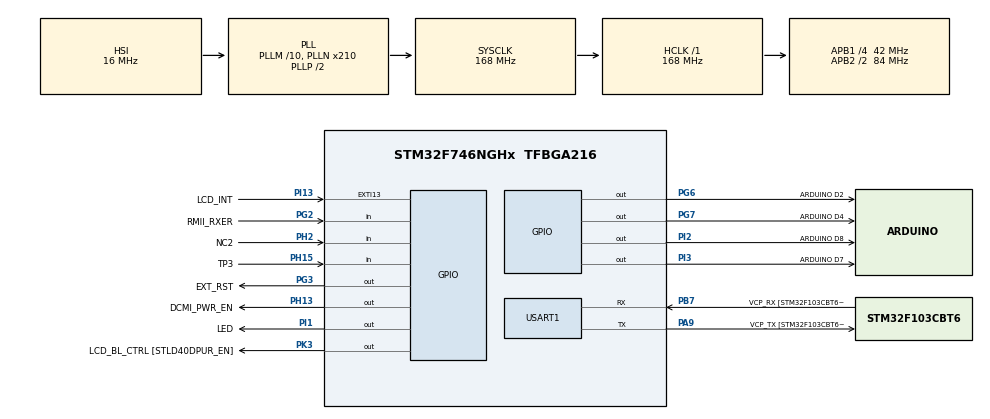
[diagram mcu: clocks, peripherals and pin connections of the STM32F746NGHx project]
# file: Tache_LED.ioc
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FREERTOS.Tasks01=defaultTask,0,128,StartDefaultTask,Default,NULL,Dynamic,NULL,NULL
Mcu.Family=STM32F7
Mcu.Name=STM32F746NGHx
Mcu.Package=TFBGA216
NVIC.PriorityGroup=NVIC_PRIORITYGROUP_4
NVIC.USART1_IRQn=true\:5\:0\:false\:false\:true\:true\:true\:true\:true
PA0/WKUP.GPIO_Label=ARDUINO A0
PA0/WKUP.GPIO_Mode=GPIO_MODE_ANALOG
PA0/WKUP.GPIO_PuPd=GPIO_NOPULL
PA0/WKUP.Signal=ADCx_IN0
PA1.GPIO_Label=RMII_REF_CLK [LAN8742A-CZ-TR_REFCLK0]
PA1.Signal=ETH_REF_CLK
PA10.GPIO_Label=OTG_FS_ID
PA10.Signal=USB_OTG_FS_ID
PA11.GPIO_Label=OTG_FS_N
PA11.Signal=USB_OTG_FS_DM
PA12.GPIO_Label=OTG_FS_P
PA12.Signal=USB_OTG_FS_DP
PA13.GPIO_Label=SWDIO
PA13.Signal=SYS_JTMS-SWDIO
PA14.GPIO_Label=SWCLK
PA14.Signal=SYS_JTCK-SWCLK
PA15.GPIO_Label=ARDUINO PWM/D9
PA15.GPIO_ModeDefaultPP=GPIO_MODE_AF_PP
PA15.GPIO_PuPd=GPIO_NOPULL
PA15.GPIO_Speed=GPIO_SPEED_FREQ_LOW
PA15.Signal=S_TIM2_CH1_ETR
PA2.GPIO_Label=RMII_MDIO [LAN8742A-CZ-TR_MDIO]
PA2.Signal=ETH_MDIO
PA3.GPIO_Label=ULPI_D0 [USB3320C-EZK_D0]
PA3.Signal=USB_OTG_HS_ULPI_D0
PA4.GPIO_Label=DCMI_HSYNC
PA4.Signal=DCMI_HSYNC
PA5.GPIO_Label=ULPI_CLK [USB3320C-EZK_CLKOUT]
PA5.Signal=USB_OTG_HS_ULPI_CK
PA6.Signal=DCMI_PIXCLK
PA7.GPIO_Label=RMII_CRS_DV [LAN8742A-CZ-TR_CRS_DV]
PA7.Signal=ETH_CRS_DV
PA8.GPIO_Label=ARDUINO PWM/D10
PA8.GPIO_ModeDefaultPP=GPIO_MODE_AF_PP
PA8.GPIO_PuPd=GPIO_NOPULL
PA8.GPIO_Speed=GPIO_SPEED_FREQ_LOW
PA8.Signal=S_TIM1_CH1
PA9.GPIO_Label=VCP_TX [STM32F103CBT6_PA3]
PA9.GPIO_Mode=GPIO_MODE_AF_PP
PA9.GPIO_PuPd=GPIO_NOPULL
PA9.GPIO_Speed=GPIO_SPEED_FREQ_LOW
PA9.Mode=Asynchronous
PA9.Signal=USART1_TX
PB0.GPIO_Label=ULPI_D1 [USB3320C-EZK_D1]
PB0.Signal=USB_OTG_HS_ULPI_D1
PB1.GPIO_Label=ULPI_D2 [USB3320C-EZK_D2]
PB1.Signal=USB_OTG_HS_ULPI_D2
PB10.GPIO_Label=ULPI_D3 [USB3320C-EZK_D3]
PB10.Signal=USB_OTG_HS_ULPI_D3
PB11.GPIO_Label=ULPI_D4 [USB3320C-EZK_D4]
PB11.Signal=USB_OTG_HS_ULPI_D4
PB12.GPIO_Label=ULPI_D5 [USB3320C-EZK_D5]
PB12.Signal=USB_OTG_HS_ULPI_D5
PB13.GPIO_Label=ULPI_D6 [USB3320C-EZK_D6]
PB13.Signal=USB_OTG_HS_ULPI_D6
PB14.GPIO_Label=ARDUINO MISO/D12
PB14.GPIO_Mode=GPIO_MODE_AF_PP
PB14.GPIO_PuPd=GPIO_NOPULL
PB14.GPIO_Speed=GPIO_SPEED_FREQ_LOW
PB14.Signal=SPI2_MISO
PB15.GPIO_Label=ARDUINO MOSI/PWM/D11
PB15.GPIO_Mode=GPIO_MODE_AF_PP
PB15.GPIO_PuPd=GPIO_NOPULL
PB15.GPIO_Speed=GPIO_SPEED_FREQ_LOW
PB15.Signal=SPI2_MOSI
PB2.Signal=QUADSPI_CLK
PB3.GPIO_Label=SWO
PB3.Signal=SYS_JTDO-SWO
PB4.GPIO_Label=ARDUINO PWM/D3
PB4.GPIO_ModeDefaultPP=GPIO_MODE_AF_PP
PB4.GPIO_PuPd=GPIO_NOPULL
PB4.GPIO_Speed=GPIO_SPEED_FREQ_LOW
PB4.Signal=S_TIM3_CH1
PB5.GPIO_Label=ULPI_D7 [USB3320C-EZK_D7]
PB5.Signal=USB_OTG_HS_ULPI_D7
PB6.GPIO_Label=QSPI_NCS [N25Q128A13EF840E_S]
PB6.Signal=QUADSPI_BK1_NCS
PB7.GPIO_Label=VCP_RX [STM32F103CBT6_PA2]
PB7.GPIO_Mode=GPIO_MODE_AF_PP
PB7.GPIO_PuPd=GPIO_NOPULL
PB7.GPIO_Speed=GPIO_SPEED_FREQ_LOW
PB7.Mode=Asynchronous
PB7.Signal=USART1_RX
PB8.GPIO_Label=ARDUINO SCL/D15
PB8.GPIO_Mode=GPIO_MODE_AF_OD
PB8.GPIO_PuPd=GPIO_NOPULL
PB8.GPIO_Speed=GPIO_SPEED_FREQ_LOW
PB8.Signal=I2C1_SCL
PB9.GPIO_Label=ARDUINO SDA/D14
PB9.GPIO_Mode=GPIO_MODE_AF_OD
PB9.GPIO_PuPd=GPIO_NOPULL
PB9.GPIO_Speed=GPIO_SPEED_FREQ_LOW
PB9.Signal=I2C1_SDA
PC0.GPIO_Label=ULPI_STP [USB3320C-EZK_STP]
PC0.Signal=USB_OTG_HS_ULPI_STP
PC1.GPIO_Label=RMII_MDC [LAN8742A-CZ-TR_MDC]
PC1.Signal=ETH_MDC
PC10.GPIO_Label=SDMMC_D2
PC10.Signal=SDMMC1_D2
PC11.GPIO_Label=SDMMC_D3
PC11.Signal=SDMMC1_D3
PC12.GPIO_Label=SDMMC_CK
PC12.Signal=SDMMC1_CK
PC14/OSC32_IN.GPIO_Label=RCC_OSC32_IN
PC14/OSC32_IN.Signal=RCC_OSC32_IN
PC15/OSC32_OUT.GPIO_Label=RCC_OSC32_OUT
PC15/OSC32_OUT.Signal=RCC_OSC32_OUT
PC2.GPIO_Label=ULPI_DIR [USB3320C-EZK_DIR]
PC2.Signal=USB_OTG_HS_ULPI_DIR
PC3.GPIO_Label=FMC_SDCKE0 [MT48LC4M32B2B5-6A_CKE]
PC3.Signal=FMC_SDCKE0
PC4.GPIO_Label=RMII_RXD0 [LAN8742A-CZ-TR_RXD0]
PC4.Signal=ETH_RXD0
PC5.GPIO_Label=RMII_RXD1 [LAN8742A-CZ-TR_RXD1]
PC5.Signal=ETH_RXD1
PC6.GPIO_Label=ARDUINO TX/D1
PC6.Signal=USART6_TX
PC7.GPIO_Label=ARDUINO RX/D0
PC7.Signal=USART6_RX
PC8.Signal=SDMMC1_D0
PC9.Signal=SDMMC1_D1
PD0.GPIO_Label=FMC_D2 [MT48LC4M32B2B5-6A_DQ2]
PD0.Signal=FMC_D2_DA2
PD1.GPIO_Label=FMC_D3 [MT48LC4M32B2B5-6A_DQ3]
PD1.Signal=FMC_D3_DA3
PD10.GPIO_Label=FMC_D15 [MT48LC4M32B2B5-6A_DQ15]
PD10.Signal=FMC_D15_DA15
PD11.GPIO_Label=QSPI_D0 [N25Q128A13EF840E_DQ0]
PD11.Signal=QUADSPI_BK1_IO0
PD12.GPIO_Label=QSPI_D1 [N25Q128A13EF840E_DQ1]
PD12.Signal=QUADSPI_BK1_IO1
PD13.GPIO_Label=QSPI_D3 [N25Q128A13EF840E_DQ3]
PD13.Signal=QUADSPI_BK1_IO3
PD14.GPIO_Label=FMC_D0 [MT48LC4M32B2B5-6A_DQ0]
PD14.Signal=FMC_D0_DA0
PD15.GPIO_Label=FMC_D1 [MT48LC4M32B2B5-6A_DQ1]
PD15.Signal=FMC_D1_DA1
PD2.GPIO_Label=SDMMC_D0
PD2.Signal=SDMMC1_CMD
PD3.GPIO_Label=DCMI_D5
PD3.Signal=DCMI_D5
PD7.GPIO_Label=SPDIF_RX0 [74LVC1G04SE_4]
PD7.Signal=SPDIFRX_IN0
PD8.GPIO_Label=FMC_D13 [MT48LC4M32B2B5-6A_DQ13]
PD8.Signal=FMC_D13_DA13
PD9.GPIO_Label=FMC_D14 [MT48LC4M32B2B5-6A_DQ14]
PD9.Signal=FMC_D14_DA14
PE0.GPIO_Label=FMC_NBL0 [MT48LC4M32B2B5-6A_DQM0]
PE0.Signal=FMC_NBL0
PE1.GPIO_Label=FMC_NBL1 [MT48LC4M32B2B5-6A_DQM1]
PE1.Signal=FMC_NBL1
PE10.GPIO_Label=FMC_D7 [MT48LC4M32B2B5-6A_DQ7]
PE10.Signal=FMC_D7_DA7
PE11.GPIO_Label=FMC_D8 [MT48LC4M32B2B5-6A_DQ8]
PE11.Signal=FMC_D8_DA8
PE12.GPIO_Label=FMC_D9 [MT48LC4M32B2B5-6A_DQ9]
PE12.Signal=FMC_D9_DA9
PE13.GPIO_Label=FMC_D10 [MT48LC4M32B2B5-6A_DQ10]
PE13.Signal=FMC_D10_DA10
PE14.GPIO_Label=FMC_D11 [MT48LC4M32B2B5-6A_DQ11]
PE14.Signal=FMC_D11_DA11
PE15.GPIO_Label=FMC_D12 [MT48LC4M32B2B5-6A_DQ12]
PE15.Signal=FMC_D12_DA12
PE2.GPIO_Label=QSPI_D2 [N25Q128A13EF840E_DQ2]
PE2.Signal=QUADSPI_BK1_IO2
PE4.GPIO_Label=LCD_B0 [RK043FN48H-CT672B_B0]
PE4.Signal=LTDC_B0
PE5.GPIO_Label=DCMI_D6
PE5.Signal=DCMI_D6
PE6.GPIO_Label=DCMI_D7
PE6.Signal=DCMI_D7
PE7.GPIO_Label=FMC_D4 [MT48LC4M32B2B5-6A_DQ4]
PE7.Signal=FMC_D4_DA4
PE8.GPIO_Label=FMC_D5 [MT48LC4M32B2B5-6A_DQ5]
PE8.Signal=FMC_D5_DA5
PE9.GPIO_Label=FMC_D6 [MT48LC4M32B2B5-6A_DQ6]
PE9.Signal=FMC_D6_DA6
PF0.GPIO_Label=FMC_A0 [MT48LC4M32B2B5-6A_A0]
PF0.Signal=FMC_A0
PF1.GPIO_Label=FMC_A1 [MT48LC4M32B2B5-6A_A1]
PF1.Signal=FMC_A1
PF10.GPIO_Label=ARDUINO A1
PF10.GPIO_Mode=GPIO_MODE_ANALOG
PF10.GPIO_PuPd=GPIO_NOPULL
PF10.Signal=ADC3_IN8
PF11.GPIO_Label=FMC_SDNRAS [MT48LC4M32B2B5-6A_RAS]
PF11.Signal=FMC_SDNRAS
PF12.GPIO_Label=FMC_A6 [MT48LC4M32B2B5-6A_A6]
PF12.Signal=FMC_A6
PF13.GPIO_Label=FMC_A7 [MT48LC4M32B2B5-6A_A7]
PF13.Signal=FMC_A7
PF14.GPIO_Label=FMC_A8 [MT48LC4M32B2B5-6A_A8]
PF14.Signal=FMC_A8
PF15.GPIO_Label=FMC_A9 [MT48LC4M32B2B5-6A_A9]
PF15.Signal=FMC_A9
PF2.GPIO_Label=FMC_A2 [MT48LC4M32B2B5-6A_A2]
PF2.Signal=FMC_A2
PF3.GPIO_Label=FMC_A3 [MT48LC4M32B2B5-6A_A3]
PF3.Signal=FMC_A3
PF4.GPIO_Label=FMC_A4 [MT48LC4M32B2B5-6A_A4]
PF4.Signal=FMC_A4
PF5.GPIO_Label=FMC_A5 [MT48LC4M32B2B5-6A_A5]
PF5.Signal=FMC_A5
PF6.GPIO_Label=ARDUINO A5
PF6.GPIO_Mode=GPIO_MODE_ANALOG
PF6.GPIO_PuPd=GPIO_NOPULL
PF6.Signal=ADC3_IN4
PF7.GPIO_Label=ARDUINO A4
PF7.GPIO_Mode=GPIO_MODE_ANALOG
PF7.GPIO_PuPd=GPIO_NOPULL
PF7.Signal=ADC3_IN5
PF8.GPIO_Label=ARDUINO A3
PF8.GPIO_Mode=GPIO_MODE_ANALOG
PF8.GPIO_PuPd=GPIO_NOPULL
PF8.Signal=ADC3_IN6
PF9.GPIO_Label=ARDUINO A2
PF9.GPIO_Mode=GPIO_MODE_ANALOG
PF9.GPIO_PuPd=GPIO_NOPULL
PF9.Signal=ADC3_IN7
PG0.GPIO_Label=FMC_A10 [MT48LC4M32B2B5-6A_A10]
PG0.Signal=FMC_A10
PG1.GPIO_Label=FMC_A11 [MT48LC4M32B2B5-6A_A11]
PG1.Signal=FMC_A11
PG10.GPIO_Label=SAI2_SDB [WM8994ECS/R_ADCDAT1]
PG10.Signal=SAI2_SD_B
PG11.GPIO_Label=RMII_TX_EN [LAN8742A-CZ-TR_TXEN]
PG11.Signal=ETH_TX_EN
PG12.GPIO_Label=LCD_B4 [RK043FN48H-CT672B_B4]
PG12.Signal=LTDC_B4
PG13.GPIO_Label=RMII_TXD0 [LAN8742A-CZ-TR_TXD0]
PG13.Signal=ETH_TXD0
PG14.GPIO_Label=RMII_TXD1 [LAN8742A-CZ-TR_TXD1]
PG14.Signal=ETH_TXD1
PG15.GPIO_Label=FMC_SDNCAS [MT48LC4M32B2B5-6A_CAS]
PG15.Signal=FMC_SDNCAS
PG2.GPIO_Label=RMII_RXER
PG2.Signal=GPIO_Input
PG3.GPIO_Label=EXT_RST
PG3.Signal=GPIO_Output
PG4.GPIO_Label=FMC_BA0 [MT48LC4M32B2B5-6A_BA0]
PG4.Signal=FMC_A14_BA0
PG5.GPIO_Label=FMC_BA1 [MT48LC4M32B2B5-6A_BA1]
PG5.Signal=FMC_A15_BA1
PG6.GPIO_Label=ARDUINO D2
PG6.Signal=GPIO_Output
PG7.GPIO_Label=ARDUINO D4
PG7.Signal=GPIO_Output
PG8.GPIO_Label=FMC_SDCLK [MT48LC4M32B2B5-6A_CLK]
PG8.Signal=FMC_SDCLK
PG9.GPIO_Label=DCMI_VSYNC
PG9.Signal=DCMI_VSYNC
PH0/OSC_IN.GPIO_Label=OSC_25M [NZ2520SB-25.00M_OUT]
PH0/OSC_IN.Mode=HSE-External-Oscillator
PH0/OSC_IN.Signal=RCC_OSC_IN
PH1/OSC_OUT.Mode=HSE-External-Oscillator
PH1/OSC_OUT.Signal=RCC_OSC_OUT
PH10.GPIO_Label=DCMI_D1
PH10.Signal=DCMI_D1
PH11.GPIO_Label=DCMI_D2
PH11.Signal=DCMI_D2
PH12.GPIO_Label=DCMI_D3
PH12.Signal=DCMI_D3
PH13.GPIO_Label=DCMI_PWR_EN
PH13.Signal=GPIO_Output
PH14.GPIO_Label=DCMI_D4
PH14.Signal=DCMI_D4
PH15.GPIO_Label=TP3
PH15.Signal=GPIO_Input
PH2.GPIO_Label=NC2
PH2.Signal=GPIO_Input
PH3.GPIO_Label=FMC_SDNE0 [MT48LC4M32B2B5-6A_CS]
PH3.Signal=FMC_SDNE0
PH4.GPIO_Label=ULPI_NXT [USB3320C-EZK_NXT]
PH4.Signal=USB_OTG_HS_ULPI_NXT
PH5.GPIO_Label=FMC_SDNME [MT48LC4M32B2B5-6A_WE]
PH5.Signal=FMC_SDNWE
PH6.GPIO_Label=ARDUINO PWM/D6
PH6.Signal=S_TIM12_CH1
PH7.GPIO_Label=LCD_SCL [RK043FN48H-CT672B_SCL]
PH7.Signal=I2C3_SCL
PH8.GPIO_Label=LCD_SDA [RK043FN48H-CT672B_SDA]
PH8.Signal=I2C3_SDA
PH9.GPIO_Label=DCMI_D0
PH9.Signal=DCMI_D0
PI0.GPIO_Label=ARDUINO PWM/CS/D5
PI0.GPIO_ModeDefaultPP=GPIO_MODE_AF_PP
PI0.GPIO_PuPd=GPIO_NOPULL
PI0.GPIO_Speed=GPIO_SPEED_FREQ_LOW
PI0.Signal=S_TIM5_CH4
PI1.GPIO_Label=LED
PI1.Signal=GPIO_Output
PI10.GPIO_Label=LCD_HSYNC [RK043FN48H-CT672B_HSYNC]
PI10.Signal=LTDC_HSYNC
PI13.GPIO_Label=LCD_INT
PI13.GPIO_ModeDefaultEXTI=GPIO_MODE_EVT_RISING
PI13.Signal=GPXTI13
PI14.GPIO_Label=LCD_CLK [RK043FN48H-CT672B_CLK]
PI14.Signal=LTDC_CLK
PI15.GPIO_Label=LCD_R0 [RK043FN48H-CT672B_R0]
PI15.Signal=LTDC_R0
PI2.GPIO_Label=ARDUINO D8
PI2.Signal=GPIO_Output
PI3.GPIO_Label=ARDUINO D7
PI3.Signal=GPIO_Output
PI4.GPIO_Label=SAI2_MCLKA [WM8994ECS/R_MCLK1]
PI4.Signal=SAI2_MCLK_A
PI5.GPIO_Label=SAI2_SCKA [WM8994ECS/R_BCLK1]
PI5.Signal=SAI2_SCK_A
PI6.GPIO_Label=SAI2_SDA [WM8994ECS/R_DACDAT1]
PI6.Signal=SAI2_SD_A
PI7.GPIO_Label=SAI2_FSA [WM8994ECS/R_LRCLK1]
PI7.Signal=SAI2_FS_A
PI8.GPIO_Label=NC1 [TP2]
PI8.Signal=RTC_TS
PI9.GPIO_Label=LCD_VSYNC [RK043FN48H-CT672B_VSYNC]
PI9.Signal=LTDC_VSYNC
PJ0.GPIO_Label=LCD_R1 [RK043FN48H-CT672B_R1]
PJ0.Signal=LTDC_R1
PJ1.GPIO_Label=LCD_R2 [RK043FN48H-CT672B_R2]
PJ1.Signal=LTDC_R2
PJ10.GPIO_Label=LCD_G3 [RK043FN48H-CT672B_G3]
PJ10.Signal=LTDC_G3
PJ11.GPIO_Label=LCD_G4 [RK043FN48H-CT672B_G4]
PJ11.Signal=LTDC_G4
PJ13.GPIO_Label=LCD_B1 [RK043FN48H-CT672B_B1]
PJ13.Signal=LTDC_B1
PJ14.GPIO_Label=LCD_B2 [RK043FN48H-CT672B_B2]
PJ14.Signal=LTDC_B2
PJ15.GPIO_Label=LCD_B3 [RK043FN48H-CT672B_B3]
PJ15.Signal=LTDC_B3
PJ2.GPIO_Label=LCD_R3 [RK043FN48H-CT672B_R3]
PJ2.Signal=LTDC_R3
PJ3.GPIO_Label=LCD_R4 [RK043FN48H-CT672B_R4]
PJ3.Signal=LTDC_R4
PJ4.GPIO_Label=LCD_R5 [RK043FN48H-CT672B_R5]
PJ4.Signal=LTDC_R5
PJ5.GPIO_Label=LCD_R6 [RK043FN48H-CT672B_R6]
PJ5.Signal=LTDC_R6
PJ6.GPIO_Label=LCD_R7 [RK043FN48H-CT672B_R7]
PJ6.Signal=LTDC_R7
PJ7.GPIO_Label=LCD_G0 [RK043FN48H-CT672B_G0]
PJ7.Signal=LTDC_G0
PJ8.GPIO_Label=LCD_G1 [RK043FN48H-CT672B_G1]
PJ8.Signal=LTDC_G1
PJ9.GPIO_Label=LCD_G2 [RK043FN48H-CT672B_G2]
PJ9.Signal=LTDC_G2
PK0.GPIO_Label=LCD_G5 [RK043FN48H-CT672B_G5]
PK0.Signal=LTDC_G5
PK1.GPIO_Label=LCD_G6 [RK043FN48H-CT672B_G6]
PK1.Signal=LTDC_G6
PK2.GPIO_Label=LCD_G7 [RK043FN48H-CT672B_G7]
PK2.Signal=LTDC_G7
PK3.GPIO_Label=LCD_BL_CTRL [STLD40DPUR_EN]
PK3.Signal=GPIO_Output
PK4.GPIO_Label=LCD_B5 [RK043FN48H-CT672B_B5]
PK4.Signal=LTDC_B5
PK5.GPIO_Label=LCD_B6 [RK043FN48H-CT672B_B6]
PK5.Signal=LTDC_B6
PK6.GPIO_Label=LCD_B7 [RK043FN48H-CT672B_B7]
PK6.Signal=LTDC_B7
PK7.GPIO_Label=LCD_DE [RK043FN48H-CT672B_DE]
PK7.Signal=LTDC_DE
ProjectManager.HeapSize=0x200
ProjectManager.StackSize=0x400
ProjectManager.TargetToolchain=STM32CubeIDE
RCC.AHBFreq_Value=168000000
RCC.APB1CLKDivider=RCC_HCLK_DIV4
RCC.APB1Freq_Value=42000000
RCC.APB1TimFreq_Value=84000000
RCC.APB2CLKDivider=RCC_HCLK_DIV2
RCC.APB2Freq_Value=84000000
RCC.APB2TimFreq_Value=168000000
RCC.CortexFreq_Value=168000000
RCC.HCLKFreq_Value=168000000
RCC.HSE_VALUE=25000000
RCC.HSI_VALUE=16000000
RCC.LSE_VALUE=32768
RCC.PLLM=10
RCC.PLLN=210
RCC.PLLSourceVirtual=RCC_PLLSOURCE_HSI
RCC.SYSCLKFreq_VALUE=168000000
RCC.SYSCLKSource=RCC_SYSCLKSOURCE_PLLCLK
RCC.USBFreq_Value=168000000
RCC.VCOOutputFreq_Value=336000000
SH.ADCx_IN0.0=ADC3_IN0
SH.FMC_A0.0=FMC_A0
SH.FMC_A1.0=FMC_A1
SH.FMC_A10.0=FMC_A10
SH.FMC_A11.0=FMC_A11
SH.FMC_A14_BA0.0=FMC_BA0
SH.FMC_A15_BA1.0=FMC_BA1
SH.FMC_A2.0=FMC_A2
SH.FMC_A3.0=FMC_A3
SH.FMC_A4.0=FMC_A4
SH.FMC_A5.0=FMC_A5
SH.FMC_A6.0=FMC_A6
SH.FMC_A7.0=FMC_A7
SH.FMC_A8.0=FMC_A8
SH.FMC_A9.0=FMC_A9
SH.FMC_D0_DA0.0=FMC_D0
SH.FMC_D10_DA10.0=FMC_D10
SH.FMC_D11_DA11.0=FMC_D11
SH.FMC_D12_DA12.0=FMC_D12
SH.FMC_D13_DA13.0=FMC_D13
SH.FMC_D14_DA14.0=FMC_D14
SH.FMC_D15_DA15.0=FMC_D15
SH.FMC_D1_DA1.0=FMC_D1
SH.FMC_D2_DA2.0=FMC_D2
SH.FMC_D3_DA3.0=FMC_D3
SH.FMC_D4_DA4.0=FMC_D4
SH.FMC_D5_DA5.0=FMC_D5
SH.FMC_D6_DA6.0=FMC_D6
SH.FMC_D7_DA7.0=FMC_D7
SH.FMC_D8_DA8.0=FMC_D8
SH.FMC_D9_DA9.0=FMC_D9
SH.FMC_NBL0.0=FMC_NBL0
SH.FMC_NBL1.0=FMC_NBL1
SH.FMC_SDCLK.0=FMC_SDCLK
SH.FMC_SDNCAS.0=FMC_SDNCAS
SH.FMC_SDNRAS.0=FMC_SDNRAS
SH.FMC_SDNWE.0=FMC_SDNWE
SH.S_TIM12_CH1.0=TIM12_CH1
SH.S_TIM1_CH1.0=TIM1_CH1
SH.S_TIM2_CH1_ETR.0=TIM2_CH1
SH.S_TIM3_CH1.0=TIM3_CH1
SH.S_TIM5_CH4.0=TIM5_CH4
USART1.VirtualMode-Asynchronous=VM_ASYNC
VP_FREERTOS_VS_CMSIS_V1.Mode=CMSIS_V1
board=STM32F746G-DISCO

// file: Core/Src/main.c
/* USER CODE BEGIN Header */
/**
  ******************************************************************************
  * @file           : main.c
  * @brief          : Main program body
  ******************************************************************************
  * @attention
  *
  * Copyright (c) 2022 STMicroelectronics.
  * All rights reserved.
  *
  * This software is licensed under terms that can be found in the LICENSE file
  * in the root directory of this software component.
  * If no LICENSE file comes with this software, it is provided AS-IS.
  *
  ******************************************************************************
  */
/* USER CODE END Header */
#include "main.h"
#include "cmsis_os.h"

/* USER CODE BEGIN Includes */
#include <stdio.h>
#include <stdlib.h>
/* USER CODE END Includes */

/* USER CODE BEGIN PM */

#define LED_PRIORITY 2
#define SHELL_PRIORITY 1
#define MAX_S_Time 10000
#define STACK_SIZE 1024

/* USER CODE END PM */

UART_HandleTypeDef huart1;

osThreadId defaultTaskHandle;

void SystemClock_Config(void);
static void MX_GPIO_Init(void);
static void MX_USART1_UART_Init(void);
void StartDefaultTask(void const * argument);

/* USER CODE BEGIN 0 */

BaseType_t xReturned;
SemaphoreHandle_t semaphori;

TaskHandle_t xHandleLED = NULL;

int __io_putchar(int ch)
{
	HAL_UART_Transmit(&huart1, (uint8_t*)&ch, 1, HAL_MAX_DELAY);
	return ch;
}

int ledtest(void){
	while (1){
		HAL_GPIO_TogglePin(LED_GPIO_Port, LED_Pin);
		vTaskDelay(1000);
	}
}

/* USER CODE END 0 */

int main(void)
{

  /* MCU Configuration--------------------------------------------------------*/

  /* Reset of all peripherals, Initializes the Flash interface and the Systick. */
  HAL_Init();

  /* Configure the system clock */
  SystemClock_Config();

  /* Initialize all configured peripherals */
  MX_GPIO_Init();
  MX_USART1_UART_Init();
  /* USER CODE BEGIN 2 */

  xReturned = xTaskCreate(
    		ledtest, /* Function that implements the task. */
    		"LED", /* Text name for the task. */
    		STACK_SIZE, /* Stack size in words, not bytes. */
    		(void *) MAX_S_Time, /* Parameter passed into the task. */
    		LED_PRIORITY,/* Priority at which the task is created. */
    		&xHandleLED ); /* Used to pass out the created task's handle. */

  /*if (xReturned == errCOULD_NOT_ALLOCATE_REQUIRED_MEMORY)
      {
	  	  printf("Error LED Task Create\r\n");
      }*/
  if(xReturned == pdTRUE)
  {
	  printf("Led task created \r\n");
  }
  else
  {
	  printf("Error Led task not created \r\n");
  }

  /* USER CODE END 2 */

  /* Create the thread(s) */
  /* definition and creation of defaultTask */
  osThreadDef(defaultTask, StartDefaultTask, osPriorityNormal, 0, 128);
  defaultTaskHandle = osThreadCreate(osThread(defaultTask), NULL);

  /* Start scheduler */
  osKernelStart();

  /* We should never get here as control is now taken by the scheduler */
  /* Infinite loop */
  while (1)
  {

  }
}

void SystemClock_Config(void)
{
  RCC_OscInitTypeDef RCC_OscInitStruct = {0};
  RCC_ClkInitTypeDef RCC_ClkInitStruct = {0};

  /** Configure the main internal regulator output voltage
  */
  __HAL_RCC_PWR_CLK_ENABLE();
  __HAL_PWR_VOLTAGESCALING_CONFIG(PWR_REGULATOR_VOLTAGE_SCALE2);

  /** Initializes the RCC Oscillators according to the specified parameters
  * in the RCC_OscInitTypeDef structure.
  */
  RCC_OscInitStruct.OscillatorType = RCC_OSCILLATORTYPE_HSI;
  RCC_OscInitStruct.HSIState = RCC_HSI_ON;
  RCC_OscInitStruct.HSICalibrationValue = RCC_HSICALIBRATION_DEFAULT;
  RCC_OscInitStruct.PLL.PLLState = RCC_PLL_ON;
  RCC_OscInitStruct.PLL.PLLSource = RCC_PLLSOURCE_HSI;
  RCC_OscInitStruct.PLL.PLLM = 10;
  RCC_OscInitStruct.PLL.PLLN = 210;
  RCC_OscInitStruct.PLL.PLLP = RCC_PLLP_DIV2;
  RCC_OscInitStruct.PLL.PLLQ = 2;
  if (HAL_RCC_OscConfig(&RCC_OscInitStruct) != HAL_OK)
  {
    Error_Handler();
  }

  /** Initializes the CPU, AHB and APB buses clocks
  */
  RCC_ClkInitStruct.ClockType = RCC_CLOCKTYPE_HCLK|RCC_CLOCKTYPE_SYSCLK
                              |RCC_CLOCKTYPE_PCLK1|RCC_CLOCKTYPE_PCLK2;
  RCC_ClkInitStruct.SYSCLKSource = RCC_SYSCLKSOURCE_PLLCLK;
  RCC_ClkInitStruct.AHBCLKDivider = RCC_SYSCLK_DIV1;
  RCC_ClkInitStruct.APB1CLKDivider = RCC_HCLK_DIV4;
  RCC_ClkInitStruct.APB2CLKDivider = RCC_HCLK_DIV2;

  if (HAL_RCC_ClockConfig(&RCC_ClkInitStruct, FLASH_LATENCY_5) != HAL_OK)
  {
    Error_Handler();
  }
}

static void MX_USART1_UART_Init(void)
{

  huart1.Instance = USART1;
  huart1.Init.BaudRate = 115200;
  huart1.Init.WordLength = UART_WORDLENGTH_8B;
  huart1.Init.StopBits = UART_STOPBITS_1;
  huart1.Init.Parity = UART_PARITY_NONE;
  huart1.Init.Mode = UART_MODE_TX_RX;
  huart1.Init.HwFlowCtl = UART_HWCONTROL_NONE;
  huart1.Init.OverSampling = UART_OVERSAMPLING_16;
  huart1.Init.OneBitSampling = UART_ONE_BIT_SAMPLE_DISABLE;
  huart1.AdvancedInit.AdvFeatureInit = UART_ADVFEATURE_NO_INIT;
  if (HAL_UART_Init(&huart1) != HAL_OK)
  {
    Error_Handler();
  }

}

static void MX_GPIO_Init(void)
{
  GPIO_InitTypeDef GPIO_InitStruct = {0};

  /* GPIO Ports Clock Enable */
  __HAL_RCC_GPIOE_CLK_ENABLE();
  __HAL_RCC_GPIOG_CLK_ENABLE();
  __HAL_RCC_GPIOB_CLK_ENABLE();
  __HAL_RCC_GPIOD_CLK_ENABLE();
  __HAL_RCC_GPIOC_CLK_ENABLE();
  __HAL_RCC_GPIOA_CLK_ENABLE();
  __HAL_RCC_GPIOJ_CLK_ENABLE();
  __HAL_RCC_GPIOI_CLK_ENABLE();
  __HAL_RCC_GPIOK_CLK_ENABLE();
  __HAL_RCC_GPIOF_CLK_ENABLE();
  __HAL_RCC_GPIOH_CLK_ENABLE();

  /*Configure GPIO pin Output Level */
  HAL_GPIO_WritePin(GPIOI, ARDUINO_D7_Pin|ARDUINO_D8_Pin|LED_Pin, GPIO_PIN_RESET);

  /*Configure GPIO pin Output Level */
  HAL_GPIO_WritePin(LCD_BL_CTRL_GPIO_Port, LCD_BL_CTRL_Pin, GPIO_PIN_RESET);

  /*Configure GPIO pin Output Level */
  HAL_GPIO_WritePin(DCMI_PWR_EN_GPIO_Port, DCMI_PWR_EN_Pin, GPIO_PIN_RESET);

  /*Configure GPIO pin Output Level */
  HAL_GPIO_WritePin(GPIOG, ARDUINO_D4_Pin|ARDUINO_D2_Pin|EXT_RST_Pin, GPIO_PIN_RESET);

  /*Configure GPIO pin : LCD_B0_Pin */
  GPIO_InitStruct.Pin = LCD_B0_Pin;
  GPIO_InitStruct.Mode = GPIO_MODE_AF_PP;
  GPIO_InitStruct.Pull = GPIO_NOPULL;
  GPIO_InitStruct.Speed = GPIO_SPEED_FREQ_LOW;
  GPIO_InitStruct.Alternate = GPIO_AF14_LTDC;
  HAL_GPIO_Init(LCD_B0_GPIO_Port, &GPIO_InitStruct);

  /*Configure GPIO pin : QSPI_D2_Pin */
  GPIO_InitStruct.Pin = QSPI_D2_Pin;
  GPIO_InitStruct.Mode = GPIO_MODE_AF_PP;
  GPIO_InitStruct.Pull = GPIO_NOPULL;
  GPIO_InitStruct.Speed = GPIO_SPEED_FREQ_VERY_HIGH;
  GPIO_InitStruct.Alternate = GPIO_AF9_QUADSPI;
  HAL_GPIO_Init(QSPI_D2_GPIO_Port, &GPIO_InitStruct);

  /*Configure GPIO pins : RMII_TXD1_Pin RMII_TXD0_Pin RMII_TX_EN_Pin */
  GPIO_InitStruct.Pin = RMII_TXD1_Pin|RMII_TXD0_Pin|RMII_TX_EN_Pin;
  GPIO_InitStruct.Mode = GPIO_MODE_AF_PP;
  GPIO_InitStruct.Pull = GPIO_NOPULL;
  GPIO_InitStruct.Speed = GPIO_SPEED_FREQ_VERY_HIGH;
  GPIO_InitStruct.Alternate = GPIO_AF11_ETH;
  HAL_GPIO_Init(GPIOG, &GPIO_InitStruct);

  /*Configure GPIO pins : FMC_NBL1_Pin FMC_NBL0_Pin FMC_D5_Pin FMC_D6_Pin
                           FMC_D8_Pin FMC_D11_Pin FMC_D4_Pin FMC_D7_Pin
                           FMC_D9_Pin FMC_D12_Pin FMC_D10_Pin */
  GPIO_InitStruct.Pin = FMC_NBL1_Pin|FMC_NBL0_Pin|FMC_D5_Pin|FMC_D6_Pin
                          |FMC_D8_Pin|FMC_D11_Pin|FMC_D4_Pin|FMC_D7_Pin
                          |FMC_D9_Pin|FMC_D12_Pin|FMC_D10_Pin;
  GPIO_InitStruct.Mode = GPIO_MODE_AF_PP;
  GPIO_InitStruct.Pull = GPIO_NOPULL;
  GPIO_InitStruct.Speed = GPIO_SPEED_FREQ_VERY_HIGH;
  GPIO_InitStruct.Alternate = GPIO_AF12_FMC;
  HAL_GPIO_Init(GPIOE, &GPIO_InitStruct);

  /*Configure GPIO pins : ARDUINO_SCL_D15_Pin ARDUINO_SDA_D14_Pin */
  GPIO_InitStruct.Pin = ARDUINO_SCL_D15_Pin|ARDUINO_SDA_D14_Pin;
  GPIO_InitStruct.Mode = GPIO_MODE_AF_OD;
  GPIO_InitStruct.Pull = GPIO_NOPULL;
  GPIO_InitStruct.Speed = GPIO_SPEED_FREQ_LOW;
  GPIO_InitStruct.Alternate = GPIO_AF4_I2C1;
  HAL_GPIO_Init(GPIOB, &GPIO_InitStruct);

  /*Configure GPIO pins : ULPI_D7_Pin ULPI_D6_Pin ULPI_D5_Pin ULPI_D3_Pin
                           ULPI_D2_Pin ULPI_D1_Pin ULPI_D4_Pin */
  GPIO_InitStruct.Pin = ULPI_D7_Pin|ULPI_D6_Pin|ULPI_D5_Pin|ULPI_D3_Pin
                          |ULPI_D2_Pin|ULPI_D1_Pin|ULPI_D4_Pin;
  GPIO_InitStruct.Mode = GPIO_MODE_AF_PP;
  GPIO_InitStruct.Pull = GPIO_NOPULL;
  GPIO_InitStruct.Speed = GPIO_SPEED_FREQ_VERY_HIGH;
  GPIO_InitStruct.Alternate = GPIO_AF10_OTG_HS;
  HAL_GPIO_Init(GPIOB, &GPIO_InitStruct);

  /*Configure GPIO pin : ARDUINO_PWM_D3_Pin */
  GPIO_InitStruct.Pin = ARDUINO_PWM_D3_Pin;
  GPIO_InitStruct.Mode = GPIO_MODE_AF_PP;
  GPIO_InitStruct.Pull = GPIO_NOPULL;
  GPIO_InitStruct.Speed = GPIO_SPEED_FREQ_LOW;
  GPIO_InitStruct.Alternate = GPIO_AF2_TIM3;
  HAL_GPIO_Init(ARDUINO_PWM_D3_GPIO_Port, &GPIO_InitStruct);

  /*Configure GPIO pin : SPDIF_RX0_Pin */
  GPIO_InitStruct.Pin = SPDIF_RX0_Pin;
  GPIO_InitStruct.Mode = GPIO_MODE_AF_PP;
  GPIO_InitStruct.Pull = GPIO_NOPULL;
  GPIO_InitStruct.Speed = GPIO_SPEED_FREQ_LOW;
  GPIO_InitStruct.Alternate = GPIO_AF8_SPDIFRX;
  HAL_GPIO_Init(SPDIF_RX0_GPIO_Port, &GPIO_InitStruct);

  /*Configure GPIO pins : SDMMC_CK_Pin SDMMC_D3_Pin SDMMC_D2_Pin PC9
                           PC8 */
  GPIO_InitStruct.Pin = SDMMC_CK_Pin|SDMMC_D3_Pin|SDMMC_D2_Pin|GPIO_PIN_9
                          |GPIO_PIN_8;
  GPIO_InitStruct.Mode = GPIO_MODE_AF_PP;
  GPIO_InitStruct.Pull = GPIO_NOPULL;
  GPIO_InitStruct.Speed = GPIO_SPEED_FREQ_VERY_HIGH;
  GPIO_InitStruct.Alternate = GPIO_AF12_SDMMC1;
  HAL_GPIO_Init(GPIOC, &GPIO_InitStruct);

  /*Configure GPIO pin : ARDUINO_PWM_D9_Pin */
  GPIO_InitStruct.Pin = ARDUINO_PWM_D9_Pin;
  GPIO_InitStruct.Mode = GPIO_MODE_AF_PP;
  GPIO_InitStruct.Pull = GPIO_NOPULL;
  GPIO_InitStruct.Speed = GPIO_SPEED_FREQ_LOW;
  GPIO_InitStruct.Alternate = GPIO_AF1_TIM2;
  HAL_GPIO_Init(ARDUINO_PWM_D9_GPIO_Port, &GPIO_InitStruct);

  /*Configure GPIO pins : DCMI_D6_Pin DCMI_D7_Pin */
  GPIO_InitStruct.Pin = DCMI_D6_Pin|DCMI_D7_Pin;
  GPIO_InitStruct.Mode = GPIO_MODE_AF_PP;
  GPIO_InitStruct.Pull = GPIO_NOPULL;
  GPIO_InitStruct.Speed = GPIO_SPEED_FREQ_LOW;
  GPIO_InitStruct.Alternate = GPIO_AF13_DCMI;
  HAL_GPIO_Init(GPIOE, &GPIO_InitStruct);

  /*Configure GPIO pin : QSPI_NCS_Pin */
  GPIO_InitStruct.Pin = QSPI_NCS_Pin;
  GPIO_InitStruct.Mode = GPIO_MODE_AF_PP;
  GPIO_InitStruct.Pull = GPIO_NOPULL;
  GPIO_InitStruct.Speed = GPIO_SPEED_FREQ_VERY_HIGH;
  GPIO_InitStruct.Alternate = GPIO_AF10_QUADSPI;
  HAL_GPIO_Init(QSPI_NCS_GPIO_Port, &GPIO_InitStruct);

  /*Configure GPIO pins : FMC_SDNCAS_Pin FMC_SDCLK_Pin FMC_A11_Pin FMC_A10_Pin
                           FMC_BA1_Pin FMC_BA0_Pin */
  GPIO_InitStruct.Pin = FMC_SDNCAS_Pin|FMC_SDCLK_Pin|FMC_A11_Pin|FMC_A10_Pin
                          |FMC_BA1_Pin|FMC_BA0_Pin;
  GPIO_InitStruct.Mode = GPIO_MODE_AF_PP;
  GPIO_InitStruct.Pull = GPIO_NOPULL;
  GPIO_InitStruct.Speed = GPIO_SPEED_FREQ_VERY_HIGH;
  GPIO_InitStruct.Alternate = GPIO_AF12_FMC;
  HAL_GPIO_Init(GPIOG, &GPIO_InitStruct);

  /*Configure GPIO pins : LCD_B1_Pin LCD_B2_Pin LCD_B3_Pin LCD_G4_Pin
                           LCD_G1_Pin LCD_G3_Pin LCD_G0_Pin LCD_G2_Pin
                           LCD_R7_Pin LCD_R5_Pin LCD_R6_Pin LCD_R4_Pin
                           LCD_R3_Pin LCD_R1_Pin LCD_R2_Pin */
  GPIO_InitStruct.Pin = LCD_B1_Pin|LCD_B2_Pin|LCD_B3_Pin|LCD_G4_Pin
                          |LCD_G1_Pin|LCD_G3_Pin|LCD_G0_Pin|LCD_G2_Pin
                          |LCD_R7_Pin|LCD_R5_Pin|LCD_R6_Pin|LCD_R4_Pin
                          |LCD_R3_Pin|LCD_R1_Pin|LCD_R2_Pin;
  GPIO_InitStruct.Mode = GPIO_MODE_AF_PP;
  GPIO_InitStruct.Pull = GPIO_NOPULL;
  GPIO_InitStruct.Speed = GPIO_SPEED_FREQ_LOW;
  GPIO_InitStruct.Alternate = GPIO_AF14_LTDC;
  HAL_GPIO_Init(GPIOJ, &GPIO_InitStruct);

  /*Configure GPIO pins : FMC_D2_Pin FMC_D3_Pin FMC_D1_Pin FMC_D15_Pin
                           FMC_D0_Pin FMC_D14_Pin FMC_D13_Pin */
  GPIO_InitStruct.Pin = FMC_D2_Pin|FMC_D3_Pin|FMC_D1_Pin|FMC_D15_Pin
                          |FMC_D0_Pin|FMC_D14_Pin|FMC_D13_Pin;
  GPIO_InitStruct.Mode = GPIO_MODE_AF_PP;
  GPIO_InitStruct.Pull = GPIO_NOPULL;
  GPIO_InitStruct.Speed = GPIO_SPEED_FREQ_VERY_HIGH;
  GPIO_InitStruct.Alternate = GPIO_AF12_FMC;
  HAL_GPIO_Init(GPIOD, &GPIO_InitStruct);

  /*Configure GPIO pins : OTG_FS_P_Pin OTG_FS_N_Pin OTG_FS_ID_Pin */
  GPIO_InitStruct.Pin = OTG_FS_P_Pin|OTG_FS_N_Pin|OTG_FS_ID_Pin;
  GPIO_InitStruct.Mode = GPIO_MODE_AF_PP;
  GPIO_InitStruct.Pull = GPIO_NOPULL;
  GPIO_InitStruct.Speed = GPIO_SPEED_FREQ_VERY_HIGH;
  GPIO_InitStruct.Alternate = GPIO_AF10_OTG_FS;
  HAL_GPIO_Init(GPIOA, &GPIO_InitStruct);

  /*Configure GPIO pins : SAI2_MCLKA_Pin SAI2_SCKA_Pin SAI2_FSA_Pin SAI2_SDA_Pin */
  GPIO_InitStruct.Pin = SAI2_MCLKA_Pin|SAI2_SCKA_Pin|SAI2_FSA_Pin|SAI2_SDA_Pin;
  GPIO_InitStruct.Mode = GPIO_MODE_AF_PP;
  GPIO_InitStruct.Pull = GPIO_NOPULL;
  GPIO_InitStruct.Speed = GPIO_SPEED_FREQ_LOW;
  GPIO_InitStruct.Alternate = GPIO_AF10_SAI2;
  HAL_GPIO_Init(GPIOI, &GPIO_InitStruct);

  /*Configure GPIO pins : LCD_DE_Pin LCD_B7_Pin LCD_B6_Pin LCD_B5_Pin
                           LCD_G6_Pin LCD_G7_Pin LCD_G5_Pin */
  GPIO_InitStruct.Pin = LCD_DE_Pin|LCD_B7_Pin|LCD_B6_Pin|LCD_B5_Pin
                          |LCD_G6_Pin|LCD_G7_Pin|LCD_G5_Pin;
  GPIO_InitStruct.Mode = GPIO_MODE_AF_PP;
  GPIO_InitStruct.Pull = GPIO_NOPULL;
  GPIO_InitStruct.Speed = GPIO_SPEED_FREQ_LOW;
  GPIO_InitStruct.Alternate = GPIO_AF14_LTDC;
  HAL_GPIO_Init(GPIOK, &GPIO_InitStruct);

  /*Configure GPIO pin : LCD_B4_Pin */
  GPIO_InitStruct.Pin = LCD_B4_Pin;
  GPIO_InitStruct.Mode = GPIO_MODE_AF_PP;
  GPIO_InitStruct.Pull = GPIO_NOPULL;
  GPIO_InitStruct.Speed = GPIO_SPEED_FREQ_LOW;
  GPIO_InitStruct.Alternate = GPIO_AF9_LTDC;
  HAL_GPIO_Init(LCD_B4_GPIO_Port, &GPIO_InitStruct);

  /*Configure GPIO pin : SAI2_SDB_Pin */
  GPIO_InitStruct.Pin = SAI2_SDB_Pin;
  GPIO_InitStruct.Mode = GPIO_MODE_AF_PP;
  GPIO_InitStruct.Pull = GPIO_NOPULL;
  GPIO_InitStruct.Speed = GPIO_SPEED_FREQ_LOW;
  GPIO_InitStruct.Alternate = GPIO_AF10_SAI2;
  HAL_GPIO_Init(SAI2_SDB_GPIO_Port, &GPIO_InitStruct);

  /*Configure GPIO pin : DCMI_D5_Pin */
  GPIO_InitStruct.Pin = DCMI_D5_Pin;
  GPIO_InitStruct.Mode = GPIO_MODE_AF_PP;
  GPIO_InitStruct.Pull = GPIO_NOPULL;
  GPIO_InitStruct.Speed = GPIO_SPEED_FREQ_LOW;
  GPIO_InitStruct.Alternate = GPIO_AF13_DCMI;
  HAL_GPIO_Init(DCMI_D5_GPIO_Port, &GPIO_InitStruct);

  /*Configure GPIO pins : ARDUINO_D7_Pin ARDUINO_D8_Pin LED_Pin */
  GPIO_InitStruct.Pin = ARDUINO_D7_Pin|ARDUINO_D8_Pin|LED_Pin;
  GPIO_InitStruct.Mode = GPIO_MODE_OUTPUT_PP;
  GPIO_InitStruct.Pull = GPIO_NOPULL;
  GPIO_InitStruct.Speed = GPIO_SPEED_FREQ_LOW;
  HAL_GPIO_Init(GPIOI, &GPIO_InitStruct);

  /*Configure GPIO pins : FMC_A0_Pin FMC_A1_Pin FMC_A2_Pin FMC_A3_Pin
                           FMC_A4_Pin FMC_A5_Pin FMC_A6_Pin FMC_A9_Pin
                           FMC_A7_Pin FMC_A8_Pin FMC_SDNRAS_Pin */
  GPIO_InitStruct.Pin = FMC_A0_Pin|FMC_A1_Pin|FMC_A2_Pin|FMC_A3_Pin
                          |FMC_A4_Pin|FMC_A5_Pin|FMC_A6_Pin|FMC_A9_Pin
                          |FMC_A7_Pin|FMC_A8_Pin|FMC_SDNRAS_Pin;
  GPIO_InitStruct.Mode = GPIO_MODE_AF_PP;
  GPIO_InitStruct.Pull = GPIO_NOPULL;
  GPIO_InitStruct.Speed = GPIO_SPEED_FREQ_VERY_HIGH;
  GPIO_InitStruct.Alternate = GPIO_AF12_FMC;
  HAL_GPIO_Init(GPIOF, &GPIO_InitStruct);

  /*Configure GPIO pins : LCD_HSYNC_Pin LCD_VSYNC_Pin LCD_R0_Pin LCD_CLK_Pin */
  GPIO_InitStruct.Pin = LCD_HSYNC_Pin|LCD_VSYNC_Pin|LCD_R0_Pin|LCD_CLK_Pin;
  GPIO_InitStruct.Mode = GPIO_MODE_AF_PP;
  GPIO_InitStruct.Pull = GPIO_NOPULL;
  GPIO_InitStruct.Speed = GPIO_SPEED_FREQ_LOW;
  GPIO_InitStruct.Alternate = GPIO_AF14_LTDC;
  HAL_GPIO_Init(GPIOI, &GPIO_InitStruct);

  /*Configure GPIO pin : LCD_BL_CTRL_Pin */
  GPIO_InitStruct.Pin = LCD_BL_CTRL_Pin;
  GPIO_InitStruct.Mode = GPIO_MODE_OUTPUT_PP;
  GPIO_InitStruct.Pull = GPIO_NOPULL;
  GPIO_InitStruct.Speed = GPIO_SPEED_FREQ_LOW;
  HAL_GPIO_Init(LCD_BL_CTRL_GPIO_Port, &GPIO_InitStruct);

  /*Configure GPIO pin : DCMI_VSYNC_Pin */
  GPIO_InitStruct.Pin = DCMI_VSYNC_Pin;
  GPIO_InitStruct.Mode = GPIO_MODE_AF_PP;
  GPIO_InitStruct.Pull = GPIO_NOPULL;
  GPIO_InitStruct.Speed = GPIO_SPEED_FREQ_LOW;
  GPIO_InitStruct.Alternate = GPIO_AF13_DCMI;
  HAL_GPIO_Init(DCMI_VSYNC_GPIO_Port, &GPIO_InitStruct);

  /*Configure GPIO pin : SDMMC_D0_Pin */
  GPIO_InitStruct.Pin = SDMMC_D0_Pin;
  GPIO_InitStruct.Mode = GPIO_MODE_AF_PP;
  GPIO_InitStruct.Pull = GPIO_NOPULL;
  GPIO_InitStruct.Speed = GPIO_SPEED_FREQ_VERY_HIGH;
  GPIO_InitStruct.Alternate = GPIO_AF12_SDMMC1;
  HAL_GPIO_Init(SDMMC_D0_GPIO_Port, &GPIO_InitStruct);

  /*Configure GPIO pins : TP3_Pin NC2_Pin */
  GPIO_InitStruct.Pin = TP3_Pin|NC2_Pin;
  GPIO_InitStruct.Mode = GPIO_MODE_INPUT;
  GPIO_InitStruct.Pull = GPIO_NOPULL;
  HAL_GPIO_Init(GPIOH, &GPIO_InitStruct);

  /*Configure GPIO pin : DCMI_PWR_EN_Pin */
  GPIO_InitStruct.Pin = DCMI_PWR_EN_Pin;
  GPIO_InitStruct.Mode = GPIO_MODE_OUTPUT_PP;
  GPIO_InitStruct.Pull = GPIO_NOPULL;
  GPIO_InitStruct.Speed = GPIO_SPEED_FREQ_LOW;
  HAL_GPIO_Init(DCMI_PWR_EN_GPIO_Port, &GPIO_InitStruct);

  /*Configure GPIO pins : DCMI_D4_Pin DCMI_D3_Pin DCMI_D0_Pin DCMI_D2_Pin
                           DCMI_D1_Pin */
  GPIO_InitStruct.Pin = DCMI_D4_Pin|DCMI_D3_Pin|DCMI_D0_Pin|DCMI_D2_Pin
                          |DCMI_D1_Pin;
  GPIO_InitStruct.Mode = GPIO_MODE_AF_PP;
  GPIO_InitStruct.Pull = GPIO_NOPULL;
  GPIO_InitStruct.Speed = GPIO_SPEED_FREQ_LOW;
  GPIO_InitStruct.Alternate = GPIO_AF13_DCMI;
  HAL_GPIO_Init(GPIOH, &GPIO_InitStruct);

  /*Configure GPIO pin : ARDUINO_PWM_CS_D5_Pin */
  GPIO_InitStruct.Pin = ARDUINO_PWM_CS_D5_Pin;
  GPIO_InitStruct.Mode = GPIO_MODE_AF_PP;
  GPIO_InitStruct.Pull = GPIO_NOPULL;
  GPIO_InitStruct.Speed = GPIO_SPEED_FREQ_LOW;
  GPIO_InitStruct.Alternate = GPIO_AF2_TIM5;
  HAL_GPIO_Init(ARDUINO_PWM_CS_D5_GPIO_Port, &GPIO_InitStruct);

  /*Configure GPIO pin : ARDUINO_PWM_D10_Pin */
  GPIO_InitStruct.Pin = ARDUINO_PWM_D10_Pin;
  GPIO_InitStruct.Mode = GPIO_MODE_AF_PP;
  GPIO_InitStruct.Pull = GPIO_NOPULL;
  GPIO_InitStruct.Speed = GPIO_SPEED_FREQ_LOW;
  GPIO_InitStruct.Alternate = GPIO_AF1_TIM1;
  HAL_GPIO_Init(ARDUINO_PWM_D10_GPIO_Port, &GPIO_InitStruct);

  /*Configure GPIO pin : LCD_INT_Pin */
  GPIO_InitStruct.Pin = LCD_INT_Pin;
  GPIO_InitStruct.Mode = GPIO_MODE_EVT_RISING;
  GPIO_InitStruct.Pull = GPIO_NOPULL;
  HAL_GPIO_Init(LCD_INT_GPIO_Port, &GPIO_InitStruct);

  /*Configure GPIO pins : ARDUINO_RX_D0_Pin ARDUINO_TX_D1_Pin */
  GPIO_InitStruct.Pin = ARDUINO_RX_D0_Pin|ARDUINO_TX_D1_Pin;
  GPIO_InitStruct.Mode = GPIO_MODE_AF_PP;
  GPIO_InitStruct.Pull = GPIO_NOPULL;
  GPIO_InitStruct.Speed = GPIO_SPEED_FREQ_VERY_HIGH;
  GPIO_InitStruct.Alternate = GPIO_AF8_USART6;
  HAL_GPIO_Init(GPIOC, &GPIO_InitStruct);

  /*Configure GPIO pin : ULPI_NXT_Pin */
  GPIO_InitStruct.Pin = ULPI_NXT_Pin;
  GPIO_InitStruct.Mode = GPIO_MODE_AF_PP;
  GPIO_InitStruct.Pull = GPIO_NOPULL;
  GPIO_InitStruct.Speed = GPIO_SPEED_FREQ_VERY_HIGH;
  GPIO_InitStruct.Alternate = GPIO_AF10_OTG_HS;
  HAL_GPIO_Init(ULPI_NXT_GPIO_Port, &GPIO_InitStruct);

  /*Configure GPIO pins : FMC_SDNME_Pin FMC_SDNE0_Pin */
  GPIO_InitStruct.Pin = FMC_SDNME_Pin|FMC_SDNE0_Pin;
  GPIO_InitStruct.Mode = GPIO_MODE_AF_PP;
  GPIO_InitStruct.Pull = GPIO_NOPULL;
  GPIO_InitStruct.Speed = GPIO_SPEED_FREQ_VERY_HIGH;
  GPIO_InitStruct.Alternate = GPIO_AF12_FMC;
  HAL_GPIO_Init(GPIOH, &GPIO_InitStruct);

  /*Configure GPIO pins : ARDUINO_D4_Pin ARDUINO_D2_Pin EXT_RST_Pin */
  GPIO_InitStruct.Pin = ARDUINO_D4_Pin|ARDUINO_D2_Pin|EXT_RST_Pin;
  GPIO_InitStruct.Mode = GPIO_MODE_OUTPUT_PP;
  GPIO_InitStruct.Pull = GPIO_NOPULL;
  GPIO_InitStruct.Speed = GPIO_SPEED_FREQ_LOW;
  HAL_GPIO_Init(GPIOG, &GPIO_InitStruct);

  /*Configure GPIO pins : ARDUINO_A4_Pin ARDUINO_A5_Pin ARDUINO_A1_Pin ARDUINO_A2_Pin
                           ARDUINO_A3_Pin */
  GPIO_InitStruct.Pin = ARDUINO_A4_Pin|ARDUINO_A5_Pin|ARDUINO_A1_Pin|ARDUINO_A2_Pin
                          |ARDUINO_A3_Pin;
  GPIO_InitStruct.Mode = GPIO_MODE_ANALOG;
  GPIO_InitStruct.Pull = GPIO_NOPULL;
  HAL_GPIO_Init(GPIOF, &GPIO_InitStruct);

  /*Configure GPIO pin : FMC_SDCKE0_Pin */
  GPIO_InitStruct.Pin = FMC_SDCKE0_Pin;
  GPIO_InitStruct.Mode = GPIO_MODE_AF_PP;
  GPIO_InitStruct.Pull = GPIO_NOPULL;
  GPIO_InitStruct.Speed = GPIO_SPEED_FREQ_VERY_HIGH;
  GPIO_InitStruct.Alternate = GPIO_AF12_FMC;
  HAL_GPIO_Init(FMC_SDCKE0_GPIO_Port, &GPIO_InitStruct);

  /*Configure GPIO pins : ULPI_STP_Pin ULPI_DIR_Pin */
  GPIO_InitStruct.Pin = ULPI_STP_Pin|ULPI_DIR_Pin;
  GPIO_InitStruct.Mode = GPIO_MODE_AF_PP;
  GPIO_InitStruct.Pull = GPIO_NOPULL;
  GPIO_InitStruct.Speed = GPIO_SPEED_FREQ_VERY_HIGH;
  GPIO_InitStruct.Alternate = GPIO_AF10_OTG_HS;
  HAL_GPIO_Init(GPIOC, &GPIO_InitStruct);

  /*Configure GPIO pins : RMII_MDC_Pin RMII_RXD0_Pin RMII_RXD1_Pin */
  GPIO_InitStruct.Pin = RMII_MDC_Pin|RMII_RXD0_Pin|RMII_RXD1_Pin;
  GPIO_InitStruct.Mode = GPIO_MODE_AF_PP;
  GPIO_InitStruct.Pull = GPIO_NOPULL;
  GPIO_InitStruct.Speed = GPIO_SPEED_FREQ_VERY_HIGH;
  GPIO_InitStruct.Alternate = GPIO_AF11_ETH;
  HAL_GPIO_Init(GPIOC, &GPIO_InitStruct);

  /*Configure GPIO pin : PB2 */
  GPIO_InitStruct.Pin = GPIO_PIN_2;
  GPIO_InitStruct.Mode = GPIO_MODE_AF_PP;
  GPIO_InitStruct.Pull = GPIO_NOPULL;
  GPIO_InitStruct.Speed = GPIO_SPEED_FREQ_VERY_HIGH;
  GPIO_InitStruct.Alternate = GPIO_AF9_QUADSPI;
  HAL_GPIO_Init(GPIOB, &GPIO_InitStruct);

  /*Configure GPIO pins : QSPI_D1_Pin QSPI_D3_Pin QSPI_D0_Pin */
  GPIO_InitStruct.Pin = QSPI_D1_Pin|QSPI_D3_Pin|QSPI_D0_Pin;
  GPIO_InitStruct.Mode = GPIO_MODE_AF_PP;
  GPIO_InitStruct.Pull = GPIO_NOPULL;
  GPIO_InitStruct.Speed = GPIO_SPEED_FREQ_VERY_HIGH;
  GPIO_InitStruct.Alternate = GPIO_AF9_QUADSPI;
  HAL_GPIO_Init(GPIOD, &GPIO_InitStruct);

  /*Configure GPIO pin : RMII_RXER_Pin */
  GPIO_InitStruct.Pin = RMII_RXER_Pin;
  GPIO_InitStruct.Mode = GPIO_MODE_INPUT;
  GPIO_InitStruct.Pull = GPIO_NOPULL;
  HAL_GPIO_Init(RMII_RXER_GPIO_Port, &GPIO_InitStruct);

  /*Configure GPIO pins : RMII_REF_CLK_Pin RMII_MDIO_Pin RMII_CRS_DV_Pin */
  GPIO_InitStruct.Pin = RMII_REF_CLK_Pin|RMII_MDIO_Pin|RMII_CRS_DV_Pin;
  GPIO_InitStruct.Mode = GPIO_MODE_AF_PP;
  GPIO_InitStruct.Pull = GPIO_NOPULL;
  GPIO_InitStruct.Speed = GPIO_SPEED_FREQ_VERY_HIGH;
  GPIO_InitStruct.Alternate = GPIO_AF11_ETH;
  HAL_GPIO_Init(GPIOA, &GPIO_InitStruct);

  /*Configure GPIO pin : ARDUINO_A0_Pin */
  GPIO_InitStruct.Pin = ARDUINO_A0_Pin;
  GPIO_InitStruct.Mode = GPIO_MODE_ANALOG;
  GPIO_InitStruct.Pull = GPIO_NOPULL;
  HAL_GPIO_Init(ARDUINO_A0_GPIO_Port, &GPIO_InitStruct);

  /*Configure GPIO pins : DCMI_HSYNC_Pin PA6 */
  GPIO_InitStruct.Pin = DCMI_HSYNC_Pin|GPIO_PIN_6;
  GPIO_InitStruct.Mode = GPIO_MODE_AF_PP;
  GPIO_InitStruct.Pull = GPIO_NOPULL;
  GPIO_InitStruct.Speed = GPIO_SPEED_FREQ_LOW;
  GPIO_InitStruct.Alternate = GPIO_AF13_DCMI;
  HAL_GPIO_Init(GPIOA, &GPIO_InitStruct);

  /*Configure GPIO pins : LCD_SCL_Pin LCD_SDA_Pin */
  GPIO_InitStruct.Pin = LCD_SCL_Pin|LCD_SDA_Pin;
  GPIO_InitStruct.Mode = GPIO_MODE_AF_OD;
  GPIO_InitStruct.Pull = GPIO_NOPULL;
  GPIO_InitStruct.Speed = GPIO_SPEED_FREQ_VERY_HIGH;
  GPIO_InitStruct.Alternate = GPIO_AF4_I2C3;
  HAL_GPIO_Init(GPIOH, &GPIO_InitStruct);

  /*Configure GPIO pins : ULPI_CLK_Pin ULPI_D0_Pin */
  GPIO_InitStruct.Pin = ULPI_CLK_Pin|ULPI_D0_Pin;
  GPIO_InitStruct.Mode = GPIO_MODE_AF_PP;
  GPIO_InitStruct.Pull = GPIO_NOPULL;
  GPIO_InitStruct.Speed = GPIO_SPEED_FREQ_VERY_HIGH;
  GPIO_InitStruct.Alternate = GPIO_AF10_OTG_HS;
  HAL_GPIO_Init(GPIOA, &GPIO_InitStruct);

  /*Configure GPIO pin : ARDUINO_PWM_D6_Pin */
  GPIO_InitStruct.Pin = ARDUINO_PWM_D6_Pin;
  GPIO_InitStruct.Mode = GPIO_MODE_AF_PP;
  GPIO_InitStruct.Pull = GPIO_NOPULL;
  GPIO_InitStruct.Speed = GPIO_SPEED_FREQ_LOW;
  GPIO_InitStruct.Alternate = GPIO_AF9_TIM12;
  HAL_GPIO_Init(ARDUINO_PWM_D6_GPIO_Port, &GPIO_InitStruct);

  /*Configure GPIO pins : ARDUINO_MISO_D12_Pin ARDUINO_MOSI_PWM_D11_Pin */
  GPIO_InitStruct.Pin = ARDUINO_MISO_D12_Pin|ARDUINO_MOSI_PWM_D11_Pin;
  GPIO_InitStruct.Mode = GPIO_MODE_AF_PP;
  GPIO_InitStruct.Pull = GPIO_NOPULL;
  GPIO_InitStruct.Speed = GPIO_SPEED_FREQ_LOW;
  GPIO_InitStruct.Alternate = GPIO_AF5_SPI2;
  HAL_GPIO_Init(GPIOB, &GPIO_InitStruct);

}

void StartDefaultTask(void const * argument)
{
  for(;;)
  {
    osDelay(1);
  }
}

void Error_Handler(void)
{
  __disable_irq();
  while (1)
  {
  }
}
